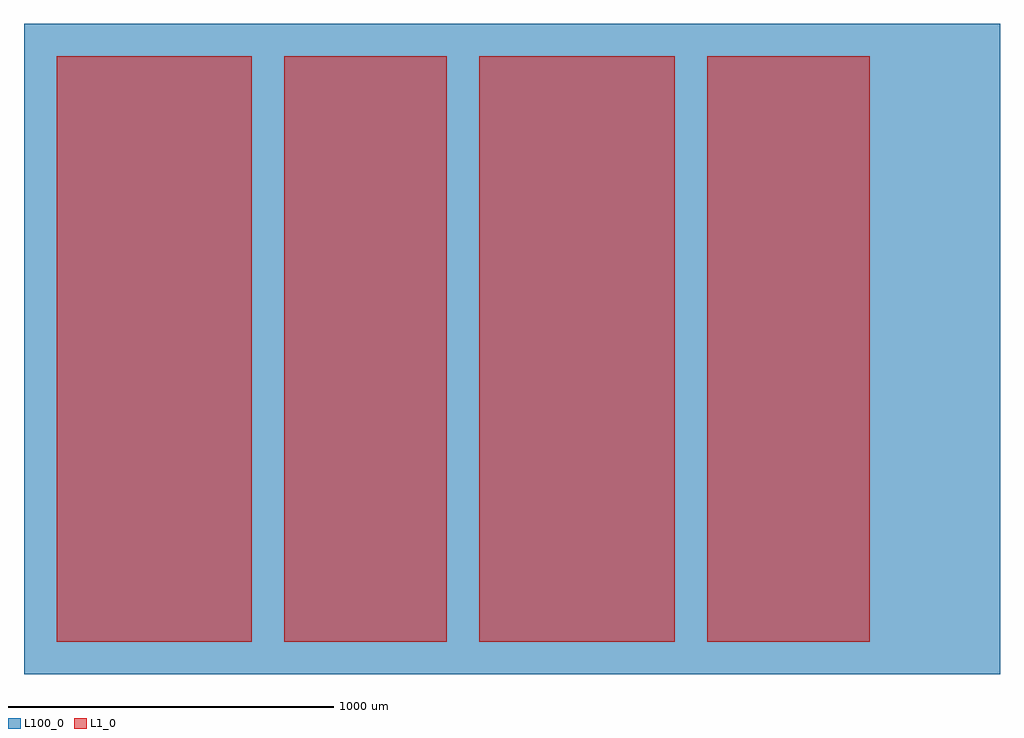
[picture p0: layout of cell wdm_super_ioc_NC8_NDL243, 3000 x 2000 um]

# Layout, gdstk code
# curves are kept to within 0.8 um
import gdstk
lib = gdstk.Library(unit=1e-6, precision=1e-09)
def R(c, l, rs):  # rectangles x0, y0, x1, y1
    for r in rs: c.add(gdstk.rectangle(r[:2], r[2:], *l))
def P(c, l, *ps):  # polygons
    for p in ps: c.add(gdstk.Polygon(p, *l))
L1_0 = (1, 0)
L100_0 = (100, 0)

rectangle_gdsfactorypcom = lib.new_cell('rectangle_gdsfactorypcomponentspshapesprectangle_S3000__5b6271cf')
R(rectangle_gdsfactorypcom, L100_0, [(0,0,3000,2000)])

c_rectangle_gdsfactorypcom = lib.new_cell('rectangle_gdsfactorypcomponentspshapesprectangle_S600_1_86b41c98')
R(c_rectangle_gdsfactorypcom, L1_0, [(0,0,600,1800)])

text_gdsfactorypcomponen = lib.new_cell('text_gdsfactorypcomponentsptextsptext_TFREQ_COMB$24L_S2_c3637c31')
P(text_gdsfactorypcomponen, L100_0, [(2,-30),(2,-26),(12,-16),(12,-14),(6,-14),(6,-16),(2,-16),(2,-12),(4,-10),(14,-10),(16,-12),(16,-18),(8,-26),(16,-26),(16,-30)],
  [(26,-30),(26,-24),(18,-24),(18,-10),(22,-10),(22,-20),(26,-20),(26,-10),(30,-10),(30,-20),(32,-20),(32,-24),(30,-24),(30,-30)],
  [(34,-30),(34,-10),(38,-10),(38,-26),(48,-26),(48,-30)],
  [(2,0),(2,20),(14,20),(14,16),(6,16),(6,12),(10,12),(10,8),(6,8),(6,0)],
  [(16,0),(16,20),(28,20),(32,16),(32,12),(28,8),(32,4),(32,0),(28,0),(28,2),(24,6),(24,12),(26,12),(28,14),(26,16),(20,16),(20,0)],
  [(34,0),(34,20),(46,20),(46,16),(38,16),(38,12),(42,12),(42,8),(38,8),(38,4),(46,4),(46,0)],
  [(52,0),(48,4),(48,16),(52,20),(60,20),(64,16),(64,4),(62,2),(64,0),(58,0),(58,8),(60,8),(60,14),(58,16),(54,16),(52,14),(52,6),(54,4),(54,0)],
  [(80,0),(76,4),(76,16),(80,20),(86,20),(90,16),(90,12),(86,12),(86,14),(84,16),(82,16),(80,14),(80,6),(82,4),(84,4),(86,6),(86,8),(90,8),(90,4),(86,0)],
  [(96,0),(92,4),(92,16),(96,20),(98.6,20),(98.6,16),(96,14),(96,6),(98,4),(102,4),(104,6),(104,14),(101.4,16),(101.4,20),(104,20),(108,16),(108,4),(104,0)],
  [(110,0),(110,20),(114,20),(118,14),(122,20),(126,20),(126,0),(122,0),(122,12),(118,6),(114,12),(114,0)],
  [(128,0),(128,8),(132,8),(132,4),(136,4),(138,6),(136,8),(134.4,8),(134.4,12),(136,12),(138,14),(136,16),(132,16),(132,12),(128,12),(128,20),(138,20),(142,16),(142,12),(140,10),(142,8),(142,4),(138,0)])

c_rectangle_gdsfactorypcom_ = lib.new_cell('rectangle_gdsfactorypcomponentspshapesprectangle_S500_1_55513241')
R(c_rectangle_gdsfactorypcom_, L1_0, [(0,0,500,1800)])

c_text_gdsfactorypcomponen = lib.new_cell('text_gdsfactorypcomponentsptextsptext_TAWG_DEMUX$8ch_S2_31bf5735')
P(c_text_gdsfactorypcomponen, L100_0, [(22,-30),(18,-26),(18,-20),(22,-16),(28,-16),(32,-20),(32,-22),(28,-22),(26,-20),(24,-20),(22,-22),(22,-24),(24,-26),(26,-26),(28,-24),(32,-24),(32,-26),(28,-30)],
  [(4,-30),(2,-28),(2,-22),(4,-20),(2,-18),(2,-12),(4,-10),(8,-10),(8,-14),(6,-14),(6,-18),(12,-18),(12,-14),(10,-14),(10,-10),(14,-10),(16,-12),(16,-18),(14,-20),(16,-22),(16,-28),(14,-30),(10,-30),(10,-26),(12,-26),(12,-22),(6,-22),(6,-26),(8,-26),(8,-30)],
  [(34,-30),(34,-8),(38,-8),(38,-18),(40,-16),(44,-16),(48,-20),(48,-30),(44,-30),(44,-22),(42,-20),(40,-20),(38,-22),(38,-30)],
  [(1.98,0),(2,16),(6,20),(12.02,20),(16,16),(16,0),(12.02,0),(12.02,4),(10,4),(10,8),(12.02,8),(12.02,14),(10,16),(8,16),(6,14),(6,8),(8,8),(8,4),(6,4),(6,0)],
  [(18,0),(18,20),(22,20),(22,8),(26,14),(30,8),(30,20),(34,20),(34,0),(30,0),(26,6),(22,0)],
  [(40,0),(36,4),(36,16),(40,20),(46,20),(50,16),(50,14),(46,14),(44,16),(42,16),(40,14),(40,6),(42,4),(46,4),(46,6),(44,6),(44,10),(50,10),(50,2),(48,0)],
  [(62,0),(62,8),(66,8),(66,4),(70,4),(72,6),(72,14),(70,16),(66,16),(66,12),(62,12),(62,20),(72,20),(76,16),(76,4),(72,0)],
  [(78,0),(78,20),(90,20),(90,16),(82,16),(82,12),(86,12),(86,8),(82,8),(82,4),(90,4),(90,0)],
  [(92,0),(92,20),(96,20),(100,14),(104,20),(108,20),(108,0),(104,0),(104,12),(100,6),(96,12),(96,0)],
  [(114,0),(110,4),(110,20),(114,20),(114,6),(116,4),(118,4),(120,6),(120,20),(124,20),(124,4),(120,0)],
  [(126,0),(126,2),(131.34,10),(126,18),(126,20),(130,20),(134,14),(138,20),(142,20),(142,18),(136.66,10),(142,2),(142,0),(138,0),(134,6),(130,0)])

c_text_gdsfactorypcomponen_ = lib.new_cell('text_gdsfactorypcomponentsptextsptext_TLiNbO3_MOD$243x8_4c4af568')
R(c_text_gdsfactorypcomponen_, L100_0, [(18,0,22,12), (18,16,22,20)])
P(c_text_gdsfactorypcomponen_, L100_0, [(50,-30),(50,-28),(54.16,-23),(50,-18),(50,-16),(54,-16),(57,-19.6),(60,-16),(64,-16),(64,-18),(59.84,-23),(64,-28),(64,-30),(60,-30),(57,-26.4),(54,-30)],
  [(2,-30),(2,-26),(12,-16),(12,-14),(6,-14),(6,-16),(2,-16),(2,-12),(4,-10),(14,-10),(16,-12),(16,-18),(8,-26),(16,-26),(16,-30)],
  [(26,-30),(26,-24),(18,-24),(18,-10),(22,-10),(22,-20),(26,-20),(26,-10),(30,-10),(30,-20),(32,-20),(32,-24),(30,-24),(30,-30)],
  [(38,-30),(34,-26),(34,-24),(38,-24),(40,-26),(42,-26),(44,-24),(42,-22),(42,-18),(44,-16),(42,-14),(40,-14),(38,-16),(34,-16),(34,-14),(38,-10),(44,-10),(48,-14),(48,-18),(46,-20),(48,-22),(48,-26),(44,-30)],
  [(68,-30),(66,-28),(66,-22),(68,-20),(66,-18),(66,-12),(68,-10),(72,-10),(72,-14),(70,-14),(70,-18),(76,-18),(76,-14),(74,-14),(74,-10),(78,-10),(80,-12),(80,-18),(78,-20),(80,-22),(80,-28),(78,-30),(74,-30),(74,-26),(76,-26),(76,-22),(70,-22),(70,-26),(72,-26),(72,-30)],
  [(2,0),(2,20),(6,20),(6,4),(16,4),(16,0)],
  [(24,0),(24,20),(28,20),(36,8),(36,20),(40,20),(40,0),(36,0),(28,12),(28,0)],
  [(42,0),(42,6),(46,6),(46,4),(50,4),(52,6),(52,8),(50,10),(46,10),(46,8),(42,8),(42,20),(46,20),(46,14),(52,14),(56,10),(56,4),(52,0)],
  [(62,0),(58,4),(58,16),(62,20),(64.6,20),(64.6,16),(62,14),(62,6),(64,4),(68,4),(70,6),(70,14),(67.4,16),(67.4,20),(70,20),(74,16),(74,4),(70,0)],
  [(80,0),(76,4),(76,6),(80,6),(82,4),(84,4),(86,6),(84,8),(84,12),(86,14),(84,16),(82,16),(80,14),(76,14),(76,16),(80,20),(86,20),(90,16),(90,12),(88,10),(90,8),(90,4),(86,0)],
  [(102,0),(102,20),(106,20),(110,14),(114,20),(118,20),(118,0),(114,0),(114,12),(110,6),(106,12),(106,0)],
  [(124,0),(120,4),(120,16),(124,20),(126.6,20),(126.6,16),(124,14),(124,6),(126,4),(130,4),(132,6),(132,14),(129.4,16),(129.4,20),(132,20),(136,16),(136,4),(132,0)],
  [(138,0),(138,8),(142,8),(142,4),(146,4),(148,6),(148,14),(146,16),(142,16),(142,12),(138,12),(138,20),(148,20),(152,16),(152,4),(148,0)])

c_text_gdsfactorypcomponen__ = lib.new_cell('text_gdsfactorypcomponentsptextsptext_TAWG_MUX$8m1_S20__701cdefa')
R(c_text_gdsfactorypcomponen__, L100_0, [(18,-23,34,-19)])
P(c_text_gdsfactorypcomponen__, L100_0, [(36,-28),(36,-24),(42,-20),(36,-16),(36,-12),(48,-20)],
  [(4,-30),(2,-28),(2,-22),(4,-20),(2,-18),(2,-12),(4,-10),(8,-10),(8,-14),(6,-14),(6,-18),(12,-18),(12,-14),(10,-14),(10,-10),(14,-10),(16,-12),(16,-18),(14,-20),(16,-22),(16,-28),(14,-30),(10,-30),(10,-26),(12,-26),(12,-22),(6,-22),(6,-26),(8,-26),(8,-30)],
  [(50,-30),(50,-26),(52,-26),(52,-18),(50,-18),(50,-14),(54,-10),(56,-10),(56,-26),(58,-26),(58,-30)],
  [(1.98,0),(2,16),(6,20),(12.02,20),(16,16),(16,0),(12.02,0),(12.02,4),(10,4),(10,8),(12.02,8),(12.02,14),(10,16),(8,16),(6,14),(6,8),(8,8),(8,4),(6,4),(6,0)],
  [(18,0),(18,20),(22,20),(22,8),(26,14),(30,8),(30,20),(34,20),(34,0),(30,0),(26,6),(22,0)],
  [(40,0),(36,4),(36,16),(40,20),(46,20),(50,16),(50,14),(46,14),(44,16),(42,16),(40,14),(40,6),(42,4),(46,4),(46,6),(44,6),(44,10),(50,10),(50,2),(48,0)],
  [(62,0),(62,20),(66,20),(70,14),(74,20),(78,20),(78,0),(74,0),(74,12),(70,6),(66,12),(66,0)],
  [(84,0),(80,4),(80,20),(84,20),(84,6),(86,4),(88,4),(90,6),(90,20),(94,20),(94,4),(90,0)],
  [(96,0),(96,2),(101.34,10),(96,18),(96,20),(100,20),(104,14),(108,20),(112,20),(112,18),(106.66,10),(112,2),(112,0),(108,0),(104,6),(100,0)])

c_text_gdsfactorypcomponen___ = lib.new_cell('text_gdsfactorypcomponentsptextsptext_TWDM_SUPER_IOC__8_d97ca530')
R(c_text_gdsfactorypcomponen___, L100_0, [(257.5,0,262.5,5), (257.5,10,262.5,15)])
P(c_text_gdsfactorypcomponen___, L100_0, [(330,0),(330,2.5),(335.2,8.75),(330,15),(330,17.5),(335,17.5),(338.75,13),(342.5,17.5),(347.5,17.5),(347.5,15),(342.3,8.75),(347.5,2.5),(347.5,0),(342.5,0),(338.75,4.5),(335,0)],
  [(467.5,0),(467.5,17.5),(472.5,17.5),(472.5,15),(475,17.5),(480,17.5),(485,12.5),(485,0),(480,0),(480,10),(477.5,12.5),(475,12.5),(472.5,10),(472.5,0)],
  [(452.5,0),(447.5,5),(447.5,12.5),(453.35,17.5),(460,17.5),(460,19.375),(465,19.375),(465,10),(460,10),(460,12.5),(455,12.5),(452.5,10),(452.5,7.5),(455,5),(460,5),(460,7.5),(465,7.5),(465,0)],
  [(490,0),(487.5,2.5),(487.5,17.5),(490,20),(502.5,20),(505,17.5),(505,10),(502.5,7.5),(496,7.5),(496,12.5),(500,12.5),(500,15),(492.5,15),(492.5,5),(505,5),(505,2.5),(502.5,0)],
  [(510,0),(507.5,2.5),(507.5,5),(520,5),(520,7.5),(510,7.5),(507.5,10),(507.5,17.5),(510,20),(522.5,20),(525,17.5),(525,15),(512.5,15),(512.5,12.5),(522.5,12.5),(525,10),(525,2.5),(522.5,0)],
  [(2.5,0),(2.5,25),(7.5,25),(7.5,10),(12.5,17.5),(17.5,10),(17.5,25),(22.5,25),(22.5,0),(17.5,0),(12.5,7.5),(7.5,0)],
  [(25,0),(25,10),(30,10),(30,5),(35,5),(37.5,7.5),(37.5,17.5),(35,20),(30,20),(30,15),(25,15),(25,25),(37.5,25),(42.5,20),(42.5,5),(37.5,0)],
  [(45,0),(45,25),(50,25),(55,17.5),(60,25),(65,25),(65,0),(60,0),(60,15),(55,7.5),(50,15),(50,0)],
  [(82.5,0),(80,2.5),(80,5),(95,5),(95,10),(82.5,10),(80,12.5),(80,22.5),(82.5,25),(97.5,25),(100,22.5),(100,20),(85,20),(85,15),(97.5,15),(100,12.5),(100,2.5),(97.5,0)],
  [(107.5,0),(102.5,5),(102.5,25),(107.5,25),(107.5,7.5),(110,5),(112.5,5),(115,7.5),(115,25),(120,25),(120,5),(115,0)],
  [(122.5,0),(122.5,25),(137.5,25),(142.5,20),(142.5,15),(137.5,10),(132.5,10),(132.5,15),(135,15),(137.5,17.5),(135,20),(127.5,20),(127.5,0)],
  [(145,0),(145,25),(160,25),(160,20),(150,20),(150,15),(155,15),(155,10),(150,10),(150,5),(160,5),(160,0)],
  [(162.5,0),(162.5,25),(177.5,25),(182.5,20),(182.5,15),(177.5,10),(182.5,5),(182.5,0),(177.5,0),(177.5,2.5),(172.5,7.5),(172.5,15),(175,15),(177.5,17.5),(175,20),(167.5,20),(167.5,0)],
  [(197.5,0),(197.5,5),(202.5,5),(202.5,20),(197.5,20),(197.5,25),(212.5,25),(212.5,20),(207.5,20),(207.5,5),(212.5,5),(212.5,0)],
  [(220,0),(215,5),(215,20),(220,25),(223.25,25),(223.25,20),(220,17.5),(220,7.5),(222.5,5),(227.5,5),(230,7.5),(230,17.5),(226.75,20),(226.75,25),(230,25),(235,20),(235,5),(230,0)],
  [(242.5,0),(237.5,5),(237.5,20),(242.5,25),(250,25),(255,20),(255,15),(250,15),(250,17.5),(247.5,20),(245,20),(242.5,17.5),(242.5,7.5),(245,5),(247.5,5),(250,7.5),(250,10),(255,10),(255,5),(250,0)],
  [(280,0),(277.5,2.5),(277.5,10),(280,12.5),(277.5,15),(277.5,22.5),(280,25),(285,25),(285,20),(282.5,20),(282.5,15),(290,15),(290,20),(287.5,20),(287.5,25),(292.5,25),(295,22.5),(295,15),(292.5,12.5),(295,10),(295,2.5),(292.5,0),(287.5,0),(287.5,5),(290,5),(290,10),(282.5,10),(282.5,5),(285,5),(285,0)],
  [(297.5,0),(297.5,25),(302.5,25),(302.5,5),(315,5),(315,0)],
  [(362.5,0),(362.5,5),(375,17.5),(375,20),(367.5,20),(367.5,17.5),(362.5,17.5),(362.5,22.5),(365,25),(377.5,25),(380,22.5),(380,15),(370,5),(380,5),(380,0)],
  [(392.5,0),(392.5,7.5),(382.5,7.5),(382.5,25),(387.5,25),(387.5,12.5),(392.5,12.5),(392.5,25),(397.5,25),(397.5,12.5),(400,12.5),(400,7.5),(397.5,7.5),(397.5,0)],
  [(407.5,0),(402.5,5),(402.5,7.5),(407.5,7.5),(410,5),(412.5,5),(415,7.5),(412.5,10),(412.5,15),(415,17.5),(412.5,20),(410,20),(407.5,17.5),(402.5,17.5),(402.5,20),(407.5,25),(415,25),(420,20),(420,15),(417.5,12.5),(420,10),(420,5),(415,0)],
  [(437.5,0),(435,2.5),(435,25),(440,25),(440,5),(445,5),(445,0)])

wdm_super_ioc_nc8_ndl243 = lib.new_cell('wdm_super_ioc_NC8_NDL243')
wdm_super_ioc_nc8_ndl243.add(gdstk.Reference(rectangle_gdsfactorypcom, (0,0)))
wdm_super_ioc_nc8_ndl243.add(gdstk.Reference(c_rectangle_gdsfactorypcom, (100,100)))
wdm_super_ioc_nc8_ndl243.add(gdstk.Reference(text_gdsfactorypcomponen, (150,1000)))
wdm_super_ioc_nc8_ndl243.add(gdstk.Reference(c_rectangle_gdsfactorypcom_, (800,100)))
wdm_super_ioc_nc8_ndl243.add(gdstk.Reference(c_text_gdsfactorypcomponen, (850,1000)))
wdm_super_ioc_nc8_ndl243.add(gdstk.Reference(c_rectangle_gdsfactorypcom, (1400,100)))
wdm_super_ioc_nc8_ndl243.add(gdstk.Reference(c_text_gdsfactorypcomponen_, (1450,1000)))
wdm_super_ioc_nc8_ndl243.add(gdstk.Reference(c_rectangle_gdsfactorypcom_, (2100,100)))
wdm_super_ioc_nc8_ndl243.add(gdstk.Reference(c_text_gdsfactorypcomponen__, (2150,1000)))
wdm_super_ioc_nc8_ndl243.add(gdstk.Reference(c_text_gdsfactorypcomponen___, (1200,1900)))

lib.write_gds('wdm_super_ioc_NC8_NDL243.gds')
